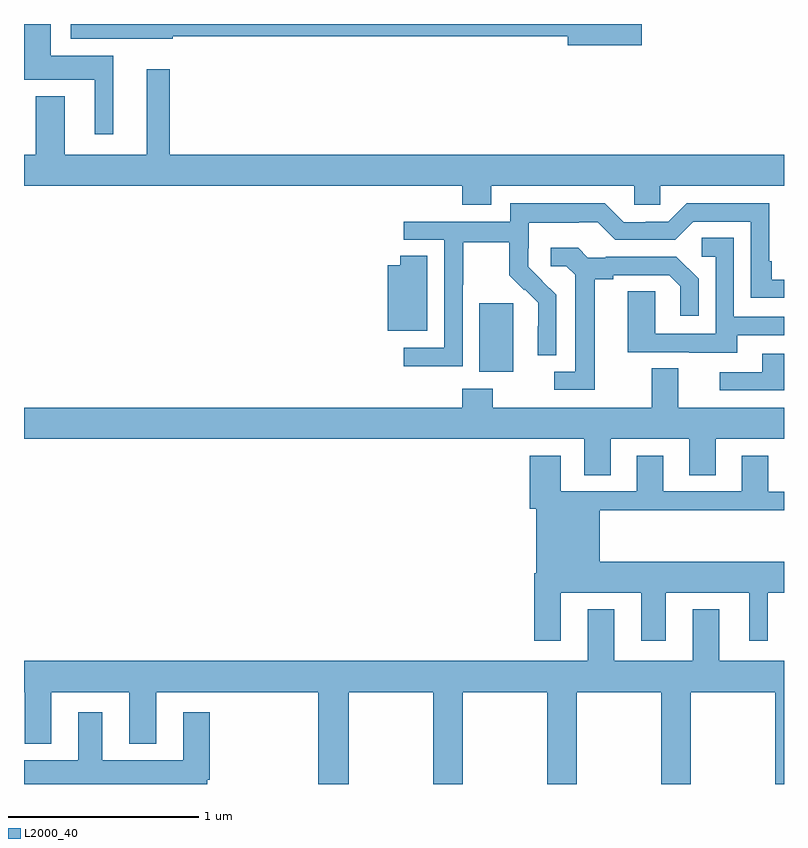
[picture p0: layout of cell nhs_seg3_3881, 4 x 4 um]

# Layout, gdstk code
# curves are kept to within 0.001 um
import gdstk
lib = gdstk.Library(unit=1e-6, precision=1e-09)
def R(c, l, rs):  # rectangles x0, y0, x1, y1
    for r in rs: c.add(gdstk.rectangle(r[:2], r[2:], *l))
def P(c, l, *ps):  # polygons
    for p in ps: c.add(gdstk.Polygon(p, *l))
L2000_40 = (2000, 40)

nhs_seg3_3881 = lib.new_cell('nhs_seg3_3881')
R(nhs_seg3_3881, L2000_40, [(313.397,734.57,313.576,734.931)])
P(nhs_seg3_3881, L2000_40, [(314.251,736.4),(311.247,736.4),(311.247,736.323),(311.559,736.323),(311.559,736.322),(311.782,736.322),(311.782,736.336),(313.862,736.336),(313.862,736.289),(314.251,736.289)],
  [(311.47,736.234),(311.14,736.234),(311.14,736.4),(311,736.4),(311,736.106),(311.372,736.106),(311.372,735.819),(311.47,735.819)],
  [(313.459,735.548),(314.211,735.548),(314.211,735.45),(314.349,735.45),(314.349,735.548),(315,735.548),(315,735.712),(311.767,735.712),(311.767,736.162),(311.645,736.162),(311.645,735.712),(311.215,735.712),(311.215,736.021),(311.063,736.021),(311.063,735.712),(311,735.712),(311,735.548),(313.307,735.548),(313.307,735.449),(313.459,735.449)],
  [(313.308,735.028),(313.311,735.028),(313.311,735.252),(313.555,735.252),(313.555,735.077),(313.632,735),(313.635,735.003),(313.706,734.933),(313.706,734.81),(313.704,734.81),(313.704,734.656),(313.8,734.656),(313.8,734.974),(313.654,735.122),(313.654,735.219),(313.656,735.219),(313.656,735.353),(313.919,735.353),(313.919,735.357),(314.019,735.357),(314.112,735.264),(314.427,735.264),(314.523,735.36),(314.826,735.36),(314.826,734.958),(315,734.958),(315,735.054),(314.935,735.054),(314.935,735.151),(314.922,735.151),(314.922,735.456),(314.487,735.456),(314.391,735.36),(314.273,735.36),(314.273,735.357),(314.157,735.357),(314.057,735.457),(313.56,735.457),(313.56,735.36),(312.999,735.36),(312.999,735.264),(313.212,735.264),(313.212,734.697),(312.999,734.697),(312.999,734.599),(313.308,734.599)],
  [(314.755,734.763),(315,734.763),(315,734.859),(314.736,734.859),(314.736,735.275),(314.568,735.275),(314.568,735.174),(314.64,735.174),(314.64,734.769),(314.322,734.769),(314.322,734.993),(314.177,734.993),(314.177,734.673),(314.501,734.673),(314.501,734.669),(314.755,734.669)],
  [(314.005,735.056),(314.101,735.056),(314.101,735.078),(314.396,735.078),(314.453,735.021),(314.453,734.865),(314.55,734.865),(314.55,735.058),(314.434,735.174),(314.062,735.174),(314.062,735.171),(313.968,735.171),(313.916,735.223),(313.773,735.223),(313.773,735.126),(313.854,735.126),(313.901,735.079),(313.901,734.571),(313.791,734.571),(313.791,734.475),(314.005,734.475)],
  [(313.123,735.179),(312.98,735.179),(312.98,735.13),(312.914,735.13),(312.914,734.786),(313.123,734.786)],
  [(315,734.664),(314.885,734.664),(314.885,734.568),(314.661,734.568),(314.661,734.472),(315,734.472)],
  [(314.089,734.216),(314.501,734.216),(314.501,734.026),(314.641,734.026),(314.641,734.216),(315,734.216),(315,734.38),(314.443,734.38),(314.443,734.588),(314.303,734.588),(314.303,734.38),(313.467,734.38),(313.467,734.479),(313.307,734.479),(313.307,734.38),(311,734.38),(311,734.216),(313.949,734.216),(313.949,734.026),(314.089,734.026)],
  [(313.825,733.406),(314.249,733.406),(314.249,733.155),(314.377,733.155),(314.377,733.406),(314.816,733.406),(314.816,733.155),(314.914,733.155),(314.914,733.406),(315,733.406),(315,733.57),(314.029,733.57),(314.029,733.84),(315,733.84),(315,733.938),(314.917,733.938),(314.917,734.128),(314.777,734.128),(314.777,733.941),(314.365,733.941),(314.365,734.128),(314.225,734.128),(314.225,733.941),(313.825,733.941),(313.825,734.128),(313.661,734.128),(313.661,733.848),(313.697,733.848),(313.697,733.51),(313.685,733.51),(313.685,733.155),(313.825,733.155)],
  [(312.708,732.884),(313.153,732.884),(313.153,732.4),(313.308,732.4),(313.308,732.884),(313.753,732.884),(313.753,732.4),(313.908,732.4),(313.908,732.884),(314.353,732.884),(314.353,732.4),(314.508,732.4),(314.508,732.884),(314.953,732.884),(314.953,732.4),(315,732.4),(315,733.048),(314.659,733.048),(314.659,733.321),(314.519,733.321),(314.519,733.048),(314.107,733.048),(314.107,733.321),(313.967,733.321),(313.967,733.048),(311,733.048),(311,732.884),(311.003,732.884),(311.003,732.611),(311.143,732.611),(311.143,732.884),(311.555,732.884),(311.555,732.611),(311.695,732.611),(311.695,732.884),(312.548,732.884),(312.548,732.4),(312.708,732.4)],
  [(311.965,732.422),(311.978,732.422),(311.978,732.778),(311.837,732.778),(311.837,732.526),(311.413,732.526),(311.413,732.778),(311.285,732.778),(311.285,732.526),(311,732.526),(311,732.4),(311.965,732.4)])

lib.write_gds('nhs_seg3_3881.gds')
